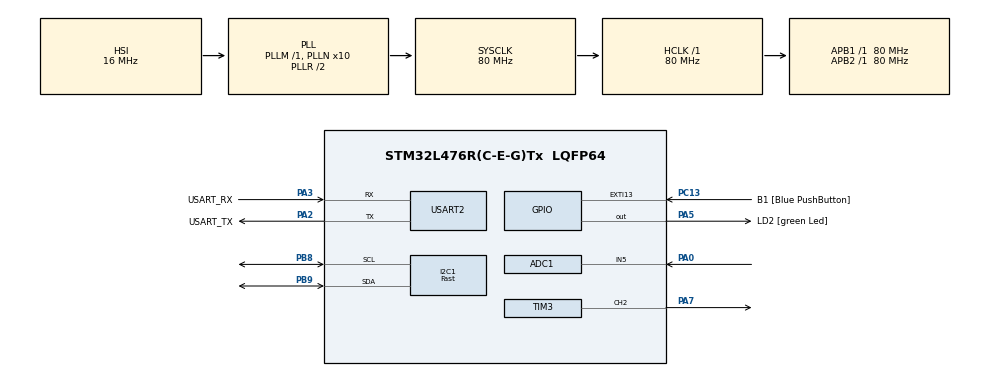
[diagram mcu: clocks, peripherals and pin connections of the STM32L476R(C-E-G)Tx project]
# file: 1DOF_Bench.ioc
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ADC1.Channel-0\#ChannelRegularConversion=ADC_CHANNEL_5
ADC1.NbrOfConversionFlag=1
ADC1.OffsetNumber-0\#ChannelRegularConversion=ADC_OFFSET_NONE
ADC1.Overrun=ADC_OVR_DATA_OVERWRITTEN
ADC1.Rank-0\#ChannelRegularConversion=1
ADC1.SamplingTime-0\#ChannelRegularConversion=ADC_SAMPLETIME_2CYCLES_5
ADC1.master=1
Dma.Request0=USART2_TX
Dma.USART2_TX.0.Direction=DMA_MEMORY_TO_PERIPH
Dma.USART2_TX.0.Instance=DMA1_Channel7
Dma.USART2_TX.0.MemDataAlignment=DMA_MDATAALIGN_BYTE
Dma.USART2_TX.0.MemInc=DMA_MINC_ENABLE
Dma.USART2_TX.0.Mode=DMA_NORMAL
Dma.USART2_TX.0.PeriphDataAlignment=DMA_PDATAALIGN_BYTE
Dma.USART2_TX.0.PeriphInc=DMA_PINC_DISABLE
Dma.USART2_TX.0.Priority=DMA_PRIORITY_LOW
I2C1.I2C_Speed_Mode=I2C_Fast
I2C1.Speed=400
I2C1.Timing=0x00702991
Mcu.Family=STM32L4
Mcu.Name=STM32L476R(C-E-G)Tx
Mcu.Package=LQFP64
Mcu.UserConstants=max_period_timer,1999
NVIC.DMA1_Channel7_IRQn=true\:0\:0\:false\:false\:true\:false\:true\:true
NVIC.PriorityGroup=NVIC_PRIORITYGROUP_4
NVIC.TIM1_UP_TIM16_IRQn=true\:0\:0\:false\:false\:true\:true\:true\:true
NVIC.TIM3_IRQn=true\:0\:0\:false\:false\:true\:true\:true\:true
NVIC.USART2_IRQn=true\:0\:0\:false\:false\:true\:true\:true\:true
PA0.Signal=ADCx_IN5
PA13\ (JTMS-SWDIO).GPIO_Label=TMS
PA13\ (JTMS-SWDIO).Mode=Serial_Wire
PA13\ (JTMS-SWDIO).Signal=SYS_JTMS-SWDIO
PA14\ (JTCK-SWCLK).GPIO_Label=TCK
PA14\ (JTCK-SWCLK).Mode=Serial_Wire
PA14\ (JTCK-SWCLK).Signal=SYS_JTCK-SWCLK
PA2.GPIO_Label=USART_TX
PA2.GPIO_Mode=GPIO_MODE_AF_PP
PA2.GPIO_PuPd=GPIO_NOPULL
PA2.GPIO_Speed=GPIO_SPEED_FREQ_VERY_HIGH
PA2.Mode=Asynchronous
PA2.Signal=USART2_TX
PA3.GPIO_Label=USART_RX
PA3.GPIO_Mode=GPIO_MODE_AF_PP
PA3.GPIO_PuPd=GPIO_NOPULL
PA3.GPIO_Speed=GPIO_SPEED_FREQ_VERY_HIGH
PA3.Mode=Asynchronous
PA3.Signal=USART2_RX
PA5.GPIO_Label=LD2 [green Led]
PA5.GPIO_ModeDefaultOutputPP=GPIO_MODE_OUTPUT_PP
PA5.GPIO_PuPd=GPIO_NOPULL
PA5.GPIO_Speed=GPIO_SPEED_FREQ_LOW
PA5.Signal=GPIO_Output
PA7.Signal=S_TIM3_CH2
PB3\ (JTDO-TRACESWO).GPIO_Label=SWO
PB3\ (JTDO-TRACESWO).Signal=SYS_JTDO-SWO
PB8.Mode=I2C
PB8.Signal=I2C1_SCL
PB9.Mode=I2C
PB9.Signal=I2C1_SDA
PC13.GPIO_Label=B1 [Blue PushButton]
PC13.GPIO_ModeDefaultEXTI=GPIO_MODE_IT_FALLING
PC13.GPIO_PuPd=GPIO_NOPULL
PC13.Signal=GPXTI13
PC14-OSC32_IN\ (PC14).Mode=LSE-External-Oscillator
PC14-OSC32_IN\ (PC14).Signal=RCC_OSC32_IN
PC15-OSC32_OUT\ (PC15).Mode=LSE-External-Oscillator
PC15-OSC32_OUT\ (PC15).Signal=RCC_OSC32_OUT
PH0-OSC_IN\ (PH0).Signal=RCC_OSC_IN
PH1-OSC_OUT\ (PH1).Signal=RCC_OSC_OUT
ProjectManager.HeapSize=0x200
ProjectManager.StackSize=0x400
ProjectManager.TargetToolchain=STM32CubeIDE
RCC.ADCFreq_Value=64000000
RCC.AHBFreq_Value=80000000
RCC.APB1Freq_Value=80000000
RCC.APB1TimFreq_Value=80000000
RCC.APB2Freq_Value=80000000
RCC.APB2TimFreq_Value=80000000
RCC.CortexFreq_Value=80000000
RCC.HCLKFreq_Value=80000000
RCC.HSE_VALUE=8000000
RCC.HSI_VALUE=16000000
RCC.MSI_VALUE=4000000
RCC.PLLN=10
RCC.PLLSourceVirtual=RCC_PLLSOURCE_HSI
RCC.PREFETCH_ENABLE=1
RCC.SYSCLKFreq_VALUE=80000000
RCC.SYSCLKSource=RCC_SYSCLKSOURCE_PLLCLK
RCC.USBFreq_Value=64000000
RCC.VCOOutputFreq_Value=160000000
SH.ADCx_IN5.0=ADC1_IN5,IN5-Single-Ended
SH.S_TIM3_CH2.0=TIM3_CH2,PWM Generation2 CH2
TIM15.Period=65536 -1
TIM15.Prescaler=80 -1
TIM16.Period=200 -1
TIM16.Prescaler=8000 -1
TIM2.AutoReloadPreload=TIM_AUTORELOAD_PRELOAD_ENABLE
TIM2.Period=4294967296 -1
TIM2.Prescaler=8 - 1
TIM3.AutoReloadPreload=TIM_AUTORELOAD_PRELOAD_ENABLE
TIM3.Channel-PWM\ Generation2\ CH2=TIM_CHANNEL_2
TIM3.Period=max_period_timer
TIM3.Prescaler=80-1
TIM3.Pulse-PWM\ Generation2\ CH2=25
USART2.VirtualMode-Asynchronous=VM_ASYNC
VP_TIM15_VS_ClockSourceINT.Mode=Internal
VP_TIM16_VS_ClockSourceINT.Mode=Enable_Timer
VP_TIM17_VS_ClockSourceINT.Mode=Enable_Timer
VP_TIM2_VS_ClockSourceINT.Mode=Internal
VP_TIM3_VS_ClockSourceINT.Mode=Internal
board=NUCLEO-L476RG

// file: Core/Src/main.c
/* USER CODE BEGIN Header */
/**
 ******************************************************************************
 * @file           : main.c
 * @brief          : Main program body
 ******************************************************************************
 * @attention
 *
 * Copyright (c) 2022 STMicroelectronics.
 * All rights reserved.
 *
 * This software is licensed under terms that can be found in the LICENSE file
 * in the root directory of this software component.
 * If no LICENSE file comes with this software, it is provided AS-IS.
 *
 ******************************************************************************
 */

/*
 * pinout :
 * pot : "3 pins{
 * 	vcc = 3.3v
 * 	signal = A0
 * 	gnd = gnd
 * }
 *
 * ESC : 2 pins{
 *  Signal = D11
 *  gnd = gnd
 * }
 *
 * Gyro : 4 pins{
 * 	vcc = 5v    **brancher sur 3.3
 * 	gnd=gnd
 * 	scl=PB8=d15
 * 	sda = PB9=d14
 *
 *
 * }
 *
 *
 *
 *
 * */

/* USER CODE END Header */
#include "main.h"
#include "adc.h"
#include "dma.h"
#include "i2c.h"
#include "tim.h"
#include "usart.h"
#include "gpio.h"

/* USER CODE BEGIN Includes */
#include "yann.h"
#include "julien.h"
#include "mpu6050.h"
#include  <stdio.h>
#include  <errno.h>
#include  <sys/unistd.h>
#include  <inttypes.h>
#include  <stdint.h>

/* USER CODE END Includes */

/* USER CODE BEGIN PV */
Kalman_t kali;
MPU6050_t mpu;

enum states etat, previous_etat;
enum choice_mode choice_mode;

int consigne = 0;
double commande = 0;

int value0 = 0;
int value1 = 0;
int value2 = 0;

int value_prime0 = 0;
int value_prime1 = 0;

int value_kp0 = 0;
int value_kp1 = 0;
int value_kp2 = 0;
int value_kp3 = 0;

int value_ki0 = 0;
int value_ki1 = 0;
int value_ki2 = 0;
int value_ki3 = 0;

int value_kd0 = 0;
int value_kd1 = 0;
int value_kd2 = 0;
int value_kd3 = 0;

// Default coefficients
const int gain_d = 1000;

double kp = 0.001;
double ki = 0.018;
double kd = 0.1;

double erreur = 0;
double _erreur = 0;
double integre_erreur = 0;
double derive_erreur = 0;
char r_buffer[2];
int counter_exceeding_value = 0;

double position_angulaireX = 0;
double position_angulaireY = 0;
double AxRaw = 0;
double AyRaw = 0;
double AzRaw = 0;
double GxRaw = 0;
double GyRaw = 0;
double GzRaw = 0;

const double radtodeg = 57.295779513082320876798154814105;
const double gtoms2 = 9.80665;

char data;

/* USER CODE END PV */

void SystemClock_Config(void);

/* USER CODE BEGIN 0 */

uint8_t gaz_buffer[4];

int _write(int file, char *data, int len) {
	if ((file != STDOUT_FILENO) && (file != STDERR_FILENO)) {
		errno = EBADF;
		return -1;
	}

	// arbitrary timeout 1000
	HAL_StatusTypeDef status = HAL_UART_Transmit(&huart2, (uint8_t*) data, len,
			1000);

	// return # of bytes written - as best we can tell
	return (status == HAL_OK ? len : 0);
}

/* USER CODE END 0 */

int main(void)
{
  /* USER CODE BEGIN 1 */

	//uint16_t timer_val;
	//uint32_t timer_val2=UINT32_C(1234567890);

	etat = entrance;
	int okay;
	int valeur_can;
	int mapped_value = valeur_min_moteur;

	commande = valeur_min_moteur;
	double landing_value = valeur_min_moteur;
	int timeout_gyro = 1000;

	// mode 2
	int cpt_char = 0;
	int max_cpt_char = 4;
	char r_buffer_string[max_cpt_char];
	int gaz_term_percent = 0;
	// mode 3
	int cpt_char_prime = 0;
	int max_cpt_char_prime = 3;
	char r_buffer_string_prime[max_cpt_char_prime];
	int angle_term = 0;

	int cpt_char_kp = 0;
	int max_cpt_char_kp = 5; //7 avec virgule et chiffre des unités
	char r_buffer_string_kp[max_cpt_char_kp];

	int cpt_char_ki = 0;
	int max_cpt_char_ki = 5; //7 avec virgule et chiffre des unités
	char r_buffer_string_ki[max_cpt_char_ki];

	int cpt_char_kd = 0;
	int max_cpt_char_kd = 5; //7 avec virgule et chiffre des unités
	char r_buffer_string_kd[max_cpt_char_kd];

	char msg_motor_ready[] = "> Press [ SPACE ] for Motor ready\n\r";
	char msg_info_mode[] = "> Press [ ? ] for Info mode\n\n\r";
	char msg_error_char_nb[] =
			"ERROR: Please enter only characters included in this list : 0 1 2 3 4 5 6 7 8 9\n\n\r";
	char msg_error_value_sup[] = "ERROR: Value > 173\n\n\r";
	char msg_error_value_sup_angle[] = "ERROR: Value > 90\n\n\r";

  /* USER CODE END 1 */

  /* MCU Configuration--------------------------------------------------------*/

  /* Reset of all peripherals, Initializes the Flash interface and the Systick. */
  HAL_Init();

  /* Configure the system clock */
  SystemClock_Config();

  /* Initialize all configured peripherals */
  MX_GPIO_Init();
  MX_DMA_Init();
  MX_ADC1_Init();
  MX_USART2_UART_Init();
  MX_TIM3_Init();
  MX_I2C1_Init();
  MX_TIM2_Init();
  MX_TIM15_Init();
  MX_TIM17_Init();
  MX_TIM16_Init();
  /* USER CODE BEGIN 2 */
	HAL_TIM_PWM_Start(&htim3, TIM_CHANNEL_2);

	// counters to test stuff 15-> 10^-6s / 2-> 10^-7s
	//HAL_TIM_Base_Start(&htim15);
	HAL_TIM_Base_Start(&htim2);
  /* USER CODE END 2 */

  /* Infinite loop */
  /* USER CODE BEGIN WHILE */
	while (1) {

		__HAL_UART_CLEAR_OREFLAG(&huart2);

		// Re-initialization of buffer
		r_buffer[0] = 0;

		//---------changing states-------

		switch (etat) {

			// TAG_UC_001
			// First step: Press ENTER to start the experiment
		case entrance:

			do {
				HAL_UART_Receive(&huart2, (uint8_t*) r_buffer, 1, 10);
			} while (r_buffer[0] != '\r');

			etat = init_uc;

			break;

			// TAG_UC_002
			// State init: initialization of micro-controller
		case init_uc:

			printf("State: Init uc\n\r");

			// -------------------------------------------------------------------------
			// -> démarrer le compteur

			//HAL_Delay(1000);
			//timer_val = __HAL_TIM_GET_COUNTER(&htim15);
			//HAL_Delay(6);
			//timer_val = __HAL_TIM_GET_COUNTER(&htim15) - timer_val ;
			//printf("Time consumed : %d *10^-6 secondes\r\n", timer_val);

			//HAL_Delay(1000);
			//timer_val2 = __HAL_TIM_GET_COUNTER(&htim2);
			//HAL_Delay(10);
			//timer_val2 = __HAL_TIM_GET_COUNTER(&htim2) - timer_val2 ;
			//HAL_TIM_Base_Stop(&htim2);
			//printf("Time consumed : %" PRIu32 " *10^-7 secondes\r\n", timer_val2);
			// -------------------------------------------------------------------------

			printf(msg_motor_ready);
			printf(msg_info_mode);

			printf("\n\r");
			do {
				if (HAL_UART_Receive(&huart2, (uint8_t*) r_buffer, 1, 10)
						== HAL_OK) {
					HAL_UART_Transmit(&huart2, (uint8_t*) r_buffer, 1, 10);
				} else {
					__HAL_UART_CLEAR_OREFLAG(&huart2);
				}
			} while ((r_buffer[0] != ' ') && (r_buffer[0] != '?'));
			printf("\n\n\r");

			switch (r_buffer[0]) {
			case ' ':
				etat = motor_ready;
				break;
			case '?':
				etat = info_mode;
				previous_etat = init_uc;
				break;
			default:
				break;
			}

			break;

			// TAG_UC_003
			// State '?': board of informations
		case info_mode:

			printf("State: Info mode\n\n\r");

			printf("Firmware version %.2f \n\r", firmware_version);
			printf("Baud rate %lu \n\n\r", huart2.Init.BaudRate);

			printf("Angle (auto mode) = %d deg\n\n\r", angle_term);
			printf("kp = %.4f\n\r", kp);
			printf("ki = %.4f\n\r", ki);
			printf("kd = %.4f\n\n\r", kd);

			printf("List of States:\n\r");
			printf(">>Init UC\n\r");
			printf(">>Info Mode\n\r");
			printf(">>Motor Ready\n\r");
			printf(">>Manual Mode Pot\n\r");
			printf(">>Manual Mode Term\n\r");
			printf(">>Auto Mode\n\n\r");

			//go to previous state
			etat = previous_etat;
			break;

			// TAG_UC_005
			// State ' ': motor is ready
		case motor_ready:

			printf("State: Motor ready\n\n\r");

			printf(msg_info_mode);
			printf("> Press [ 1 ] for Manual mode pot\n\r");
			printf("> Press [ 2 ] for Manual mode term\n\r");
			printf("> Press [ 3 ] for Auto mode\n\r");
			printf("> Press [ 4 ] for Trip mode\n\r");

			// Init Motor
			load_pwm(htim3, valeur_min_moteur);
			HAL_Delay(100);

			printf("\n\r");
			do {
				if (HAL_UART_Receive(&huart2, (uint8_t*) r_buffer, 1, 10)
						== HAL_OK) {
					HAL_UART_Transmit(&huart2, (uint8_t*) r_buffer, 1, 10);
				} else {
					__HAL_UART_CLEAR_OREFLAG(&huart2);
				}
			} while ((r_buffer[0] != '?') && (r_buffer[0] != '1')
					&& (r_buffer[0] != '2') && (r_buffer[0] != '3')
					&& (r_buffer[0] != '4'));
			printf("\n\n\r");

			switch (r_buffer[0]) {
			case '?':
				etat = info_mode;
				previous_etat = motor_ready;
				break;
			case '1':
				etat = manual_mode_pot;
				break;
			case '2':
				etat = manual_mode_term;
				break;
			case '3':
				choice_mode = choice_auto;
				etat = init_gyro;
				break;
			case '4':
				choice_mode = choice_trip;
				etat = init_gyro;
				break;
			default:
				break;
			}

			break;

			// TAG_UC_006
			// State '1': manual mode pot
		case manual_mode_pot:

			printf("State: Manual mode pot \n\n\r");

			// Start Init Pot--------------------
			printf("Init pot\n\r");

			HAL_ADC_Start(&hadc1);
			okay = 1;
			printf("> Put the potentiometer at zero\n\r");
			HAL_Delay(100);

			while (okay == 1) {
				HAL_ADC_Start(&hadc1);
				if (HAL_ADC_PollForConversion(&hadc1, 100) == HAL_OK) {
					valeur_can = HAL_ADC_GetValue(&hadc1);
					printf("ADC value : %d \n\r", valeur_can);
				} else {
					printf("Conversion NOK\n\r");
				}
				if (valeur_can <= 20) {
					okay = 0;
				}
				HAL_Delay(1000);
			}

			printf("Success \n\n\r");
			// End Init Pot----------------------

			printf(msg_info_mode);
			printf(msg_motor_ready);

			//recuperation de la pwm
			printf("\n\r");
			do {
				if (HAL_UART_Receive(&huart2, (uint8_t*) r_buffer, 1, 10)
						== HAL_OK) {
					HAL_UART_Transmit(&huart2, (uint8_t*) r_buffer, 1, 10);
				} else {
					__HAL_UART_CLEAR_OREFLAG(&huart2);
				}
				valeur_can = load_adc(hadc1, 5);
				mapped_value = mapping_adc_value(valeur_can);
				HAL_Delay(100);
				load_pwm(htim3, mapped_value);

			} while ((r_buffer[0] != ' ') && (r_buffer[0] != '?'));
			printf("\n\n\r");

			switch (r_buffer[0]) {
			case '?':
				etat = info_mode;
				previous_etat = manual_mode_pot;
				break;
			case ' ':
				landing_value = mapped_value;
				etat = landing;
				break;
			default:
				break;
			}

			break;

			// TAG_UC_007
			// State '2': manual mode term
		case manual_mode_term:

			printf("State: Manual mode term\n\n\r");

			// for now let's say 10 as value max -> 15% = dangerous
			// edit: it can now go up to 10% but only by incrementing by 1% with '+'
			// edit2: I need to increase it to 17% for the GUI
			// edit3: with permil I need to increase it to 173 (/1000) which is equivalent to 17.3%
			printf(
					"> Enter value between 1 and 173 (power percentage) then press [ ENTER ]\n\r");
			printf("> Press [ + ] or [ - ]\n\n\r");
			printf(msg_info_mode);
			printf(msg_motor_ready);

			//recovery of the pwm
			printf("\n\r");
			do {
				if (HAL_UART_Receive(&huart2, (uint8_t*) r_buffer, 1, 1)
						== HAL_OK) {
					r_buffer_string[cpt_char] = r_buffer[0];
					HAL_UART_Transmit(&huart2, (uint8_t*) r_buffer, 1, 1);
					if (cpt_char < max_cpt_char) {
						cpt_char++;
					}
				} else {
					__HAL_UART_CLEAR_OREFLAG(&huart2);
				}
			} while ((r_buffer[0] != '\r') && (r_buffer[0] != '+')
					&& (r_buffer[0] != '-') && (r_buffer[0] != '?')
					&& (r_buffer[0] != ' ') && (r_buffer[0] != 'r')
					&& (r_buffer[0] != 's') && (r_buffer[0] != 'f'));
			printf("\n\n\r");

			value0 = ascii_to_int(r_buffer_string[0]);
			value1 = ascii_to_int(r_buffer_string[1]);
			value2 = ascii_to_int(r_buffer_string[2]);

			if (cpt_char == 2) {
				if ((value0 > 9) || (value0 < 0)) {
					printf(msg_error_char_nb);
				} else {
					int prov_gaz_term_percent = value0;
					if (prov_gaz_term_percent > 173) {
						printf(msg_error_value_sup);
					} else {
						gaz_term_percent = prov_gaz_term_percent;
						printf("Gaz Term : %d\n\r", gaz_term_percent);
					}
				}
			}
			if (cpt_char == 3) {
				if ((value0 > 9) || (value0 < 0) || (value1 > 9)
						|| (value1 < 0)) {
					printf(msg_error_char_nb);
				} else {
					int prov_gaz_term_percent = value0 * 10 + value1;
					if (prov_gaz_term_percent > 173) {
						printf(msg_error_value_sup);
					} else {
						gaz_term_percent = prov_gaz_term_percent;
						printf("Gaz Term : %d\n\r", gaz_term_percent);
					}
				}
			}
			if (cpt_char == 4) {
				if ((value0 > 9) || (value0 < 0) || (value1 > 9) || (value1 < 0)
						|| (value2 > 9) || (value2 < 0)) {
					printf(msg_error_char_nb);
				} else {
					int prov_gaz_term_percent = value0 * 100 + value1 * 10
							+ value2;
					if (prov_gaz_term_percent > 173) {
						printf(msg_error_value_sup);
					} else {
						gaz_term_percent = prov_gaz_term_percent;
						printf("Gaz Term : %d\n\r", gaz_term_percent);
					}
				}
			}

			if (r_buffer[0] == '+') {
				gaz_term_percent++;
				printf("Gaz Term : %d\n\r", gaz_term_percent);
			}
			if (r_buffer[0] == '-') {
				gaz_term_percent--;
				printf("Gaz Term : %d\n\r", gaz_term_percent);
			}

			//mapped_value = mapping_adc_value_percent(gaz_term_percent);
			mapped_value = mapping_adc_value_permil(gaz_term_percent);

			//printf("Mapping adc value percent : %d\n\n\r", mapped_value);
			load_pwm(htim3, mapped_value);
			HAL_Delay(10);

			etat = manual_mode_term;

			if (r_buffer[0] == '?') {
				etat = info_mode;
				previous_etat = manual_mode_term;
			}
			if (r_buffer[0] == 'r') {
				HAL_TIM_Base_Start_IT(&htim16);
			}
			if (r_buffer[0] == 's') {
				HAL_TIM_Base_Stop_IT(&htim16);
			}
			if (r_buffer[0] == 'f') {
				HAL_TIM_Base_Stop_IT(&htim16);
				printf("EXCEEDING VALUE\n");
			}
			if (r_buffer[0] == ' ') {
				landing_value = mapped_value;
				mapped_value = valeur_min_moteur;
				etat = landing;
				gaz_term_percent = 0;
			}

			r_buffer_string[0] = 0;
			r_buffer_string[1] = 0;
			r_buffer_string[2] = 0;
			value0 = 0;
			value1 = 0;
			value2 = 0;
			cpt_char = 0;

			break;

			// State '3': auto mode

			// TAG_UC_008
		case init_gyro:

			printf("State: Auto mode\n\n\r");
			timeout_gyro = 1000;
			printf("Waiting for Gyro MPU6050...\n\r");
			while (MPU6050_Init(&hi2c1) == 1 && (--timeout_gyro > 0))
				;

			if (MPU6050_Init(&hi2c1) == 0) {
				printf("Gyro MPU6050 initialized\n\n\r");
				MPU6050_Read_All(&hi2c1, &mpu);
				etat = instruct_angle;
			} else {
				printf("Gyro MPU6050 is not working\n\n\r");
				etat = motor_ready;
				break;
			}
			break;

			// TAG_UC_009
		case instruct_angle:

			printf(msg_info_mode);
			printf(msg_motor_ready);
			// Ask for instructions for the angle of the arm
			printf(
					"> Enter value between 0 and 90 degrees (angle of the arm) then press [ ENTER ]\n\r");

			printf("\n\r");
			do {
				if (HAL_UART_Receive(&huart2, (uint8_t*) r_buffer, 1, 1)
						== HAL_OK) {
					r_buffer_string_prime[cpt_char_prime] = r_buffer[0];
					HAL_UART_Transmit(&huart2, (uint8_t*) r_buffer, 1, 1);
					if (cpt_char_prime < max_cpt_char_prime) {
						cpt_char_prime++;
					}
				} else {
					__HAL_UART_CLEAR_OREFLAG(&huart2);
				}
			} while ((r_buffer[0] != '\r') && (r_buffer[0] != '?')
					&& (r_buffer[0] != ' '));
			printf("\n\n\r");

			value_prime0 = ascii_to_int(r_buffer_string_prime[0]);
			value_prime1 = ascii_to_int(r_buffer_string_prime[1]);

			if (cpt_char_prime == 2) {
				if ((value_prime0 > 9) || (value_prime0 < 0)) {
					printf(msg_error_char_nb);
					etat = instruct_angle;
				} else {
					int prov_angle_term = value_prime0;
					if (prov_angle_term > 90) {
						printf(msg_error_value_sup_angle);
						etat = instruct_angle;
					} else {
						angle_term = prov_angle_term;
						printf("Angle : %d\n\r", angle_term);
						etat = auto_mode;
					}
				}
			}
			if (cpt_char_prime == 3) {
				if ((value_prime0 > 9) || (value_prime0 < 0)
						|| (value_prime1 > 9) || (value_prime1 < 0)) {
					printf(msg_error_char_nb);
					etat = instruct_angle;
				} else {
					int prov_angle_term = value_prime0 * 10 + value_prime1;
					if (prov_angle_term > 90) {
						printf(msg_error_value_sup_angle);
						etat = instruct_angle;
					} else {
						angle_term = prov_angle_term;
						printf("Angle : %d\n\r", angle_term);
						etat = auto_mode;
					}
				}
			}

			if (r_buffer[0] == '?') {
				etat = info_mode;
				previous_etat = instruct_angle;
			}
			if (r_buffer[0] == ' ') {
				landing_value = commande;
				commande = valeur_min_moteur;
				etat = landing;
				integre_erreur = 0;
				erreur = 0;
			}

			r_buffer_string_prime[0] = 0;
			r_buffer_string_prime[1] = 0;
			value_prime0 = 0;
			value_prime1 = 0;
			cpt_char_prime = 0;
			break;

			// TAG_UC_010
		case instruct_kp:

			printf(msg_info_mode);
			printf(msg_motor_ready);

			// Ask for instructions for the coefficient kp
			printf(
					"> kp coefficient looks like [0.****].\n\rPlease enter all the values at the [*] then press [ ENTER ]\n\r");

			printf("\n\r");
			do {
				if (HAL_UART_Receive(&huart2, (uint8_t*) r_buffer, 1, 1)
						== HAL_OK) {
					r_buffer_string_kp[cpt_char_kp] = r_buffer[0];
					HAL_UART_Transmit(&huart2, (uint8_t*) r_buffer, 1, 1);
					if (cpt_char_kp < max_cpt_char_kp) {
						cpt_char_kp++;
					}
				} else {
					__HAL_UART_CLEAR_OREFLAG(&huart2);
				}
			} while ((r_buffer[0] != '\r') && (r_buffer[0] != '?')
					&& (r_buffer[0] != ' '));
			printf("\n\n\r");

			value_kp0 = ascii_to_int(r_buffer_string_kp[0]);
			value_kp1 = ascii_to_int(r_buffer_string_kp[1]);
			value_kp2 = ascii_to_int(r_buffer_string_kp[2]);
			value_kp3 = ascii_to_int(r_buffer_string_kp[3]);

			construct_pid_coeff(&cpt_char_kp, &value_kp0, &value_kp1, &value_kp2, &value_kp3,
					msg_error_char_nb, &etat, instruct_kp, "kp = %.4f \n\r", &kp);

//			if (cpt_char_kp == 2) {
//				if ((value_kp0 > 9) || (value_kp0 < 0)) {
//					printf(msg_error_char_nb);
//					etat = instruct_kp;
//				} else {
//					kp = value_kp0 / 10.;
//					printf("kp = %.4f \n\r", kp);
//					etat = auto_mode;
//				}
//			}
//			if (cpt_char_kp == 3) {
//				if ((value_kp0 > 9) || (value_kp0 < 0) || (value_kp1 > 9)
//						|| (value_kp1 < 0)) {
//					printf(msg_error_char_nb);
//					etat = instruct_kp;
//				} else {
//					kp = value_kp0 / 10. + value_kp1 / 100.;
//					printf("kp = %.4f \n\r", kp);
//					etat = auto_mode;
//				}
//			}
//			if (cpt_char_kp == 4) {
//				if ((value_kp0 > 9) || (value_kp0 < 0) || (value_kp1 > 9)
//						|| (value_kp1 < 0) || (value_kp2 > 9)
//						|| (value_kp2 < 0)) {
//					printf(msg_error_char_nb);
//					etat = instruct_kp;
//				} else {
//					kp = value_kp0 / 10. + value_kp1 / 100. + value_kp2 / 1000.;
//					printf("kp = %.4f \n\r", kp);
//					etat = auto_mode;
//				}
//			}
//			if (cpt_char_kp == 5) {
//				if ((value_kp0 > 9) || (value_kp0 < 0) || (value_kp1 > 9)
//						|| (value_kp1 < 0) || (value_kp2 > 9) || (value_kp2 < 0)
//						|| (value_kp3 > 9) || (value_kp3 < 0)) {
//					printf(msg_error_char_nb);
//					etat = instruct_kp;
//				} else {
//					kp = value_kp0 / 10. + value_kp1 / 100. + value_kp2 / 1000.
//							+ value_kp3 / 10000.;
//					printf("kp = %.4f \n\r", kp);
//					etat = auto_mode;
//				}
//			}

			if (r_buffer[0] == '?') {
				etat = info_mode;
				previous_etat = instruct_kp;
			}
			if (r_buffer[0] == ' ') {
				landing_value = commande;
				commande = valeur_min_moteur;
				etat = landing;
				integre_erreur = 0;
				erreur = 0;
			}

			reinit_pid_values(r_buffer_string_kp, &value_kp0, &value_kp1,
					&value_kp2, &value_kp3, &cpt_char_kp);

			break;

			// TAG_UC_011
		case instruct_ki:

			printf(msg_info_mode);
			printf(msg_motor_ready);

			// Ask for instructions for the coefficient ki
			printf(
					"> ki coefficient looks like [0.****].\n\rPlease enter all the values at the [*] then press [ ENTER ]\n\r");

			printf("\n\r");
			do {
				if (HAL_UART_Receive(&huart2, (uint8_t*) r_buffer, 1, 1)
						== HAL_OK) {
					r_buffer_string_ki[cpt_char_ki] = r_buffer[0];
					HAL_UART_Transmit(&huart2, (uint8_t*) r_buffer, 1, 1);
					if (cpt_char_ki < max_cpt_char_ki) {
						cpt_char_ki++;
					}
				} else {
					__HAL_UART_CLEAR_OREFLAG(&huart2);
				}
			} while ((r_buffer[0] != '\r') && (r_buffer[0] != '?')
					&& (r_buffer[0] != ' '));
			printf("\n\n\r");

			value_ki0 = ascii_to_int(r_buffer_string_ki[0]);
			value_ki1 = ascii_to_int(r_buffer_string_ki[1]);
			value_ki2 = ascii_to_int(r_buffer_string_ki[2]);
			value_ki3 = ascii_to_int(r_buffer_string_ki[3]);

			construct_pid_coeff(&cpt_char_ki, &value_ki0, &value_ki1, &value_ki2, &value_ki3,
								msg_error_char_nb, &etat, instruct_ki, "ki = %.4f \n\r", &ki);

//			if (cpt_char_ki == 2) {
//				if ((value_ki0 > 9) || (value_ki0 < 0)) {
//					printf(msg_error_char_nb);
//					etat = instruct_ki;
//				} else {
//					ki = value_ki0 / 10.;
//					printf("ki = %.4f \n\r", ki);
//					etat = auto_mode;
//				}
//			}
//			if (cpt_char_ki == 3) {
//				if ((value_ki0 > 9) || (value_ki0 < 0) || (value_ki1 > 9)
//						|| (value_ki1 < 0)) {
//					printf(msg_error_char_nb);
//					etat = instruct_ki;
//				} else {
//					ki = value_ki0 / 10. + value_ki1 / 100.;
//					printf("ki = %.4f \n\r", ki);
//					etat = auto_mode;
//				}
//			}
//			if (cpt_char_ki == 4) {
//				if ((value_ki0 > 9) || (value_ki0 < 0) || (value_ki1 > 9)
//						|| (value_ki1 < 0) || (value_ki2 > 9)
//						|| (value_ki2 < 0)) {
//					printf(msg_error_char_nb);
//					etat = instruct_ki;
//				} else {
//					ki = value_ki0 / 10. + value_ki1 / 100. + value_ki2 / 1000.;
//					printf("ki = %.4f \n\r", ki);
//					etat = auto_mode;
//				}
//			}
//			if (cpt_char_ki == 5) {
//				if ((value_ki0 > 9) || (value_ki0 < 0) || (value_ki1 > 9)
//						|| (value_ki1 < 0) || (value_ki2 > 9) || (value_ki2 < 0)
//						|| (value_ki3 > 9) || (value_ki3 < 0)) {
//					printf(msg_error_char_nb);
//					etat = instruct_ki;
//				} else {
//					ki = value_ki0 / 10. + value_ki1 / 100. + value_ki2 / 1000.
//							+ value_ki3 / 10000.;
//					printf("ki = %.4f \n\r", ki);
//					etat = auto_mode;
//				}
//			}

			if (r_buffer[0] == '?') {
				etat = info_mode;
				previous_etat = instruct_ki;
			}
			if (r_buffer[0] == ' ') {
				landing_value = commande;
				commande = valeur_min_moteur;
				etat = landing;
				integre_erreur = 0;
				erreur = 0;
			}

			reinit_pid_values(r_buffer_string_ki, &value_ki0, &value_ki1,
					&value_ki2, &value_ki3, &cpt_char_ki);

			break;

			// TAG_UC_012
		case instruct_kd:

			printf(msg_info_mode);
			printf(msg_motor_ready);

			// Ask for instructions for the coefficient kd
			printf(
					"> kd coefficient looks like [0.****].\n\rPlease enter all the values at the [*] then press [ ENTER ]\n\r");

			printf("\n\r");
			do {
				if (HAL_UART_Receive(&huart2, (uint8_t*) r_buffer, 1, 1)
						== HAL_OK) {
					r_buffer_string_kd[cpt_char_kd] = r_buffer[0];
					HAL_UART_Transmit(&huart2, (uint8_t*) r_buffer, 1, 1);
					if (cpt_char_kd < max_cpt_char_kd) {
						cpt_char_kd++;
					}
				} else {
					__HAL_UART_CLEAR_OREFLAG(&huart2);
				}
			} while ((r_buffer[0] != '\r') && (r_buffer[0] != '?')
					&& (r_buffer[0] != ' '));
			printf("\n\n\r");

			value_kd0 = ascii_to_int(r_buffer_string_kd[0]);
			value_kd1 = ascii_to_int(r_buffer_string_kd[1]);
			value_kd2 = ascii_to_int(r_buffer_string_kd[2]);
			value_kd3 = ascii_to_int(r_buffer_string_kd[3]);

			construct_pid_coeff(&cpt_char_kd, &value_kd0, &value_kd1, &value_kd2, &value_kd3,
											msg_error_char_nb, &etat, instruct_kd, "kd = %.4f \n\r", &kd);

//			if (cpt_char_kd == 2) {
//				if ((value_kd0 > 9) || (value_kd0 < 0)) {
//					printf(msg_error_char_nb);
//					etat = instruct_kd;
//				} else {
//					kd = value_kd0 / 10.;
//					printf("kd = %.4f \n\r", kd);
//					etat = auto_mode;
//				}
//			}
//			if (cpt_char_kd == 3) {
//				if ((value_kd0 > 9) || (value_kd0 < 0) || (value_kd1 > 9)
//						|| (value_kd1 < 0)) {
//					printf(msg_error_char_nb);
//					etat = instruct_kd;
//				} else {
//					kd = value_kd0 / 10. + value_kd1 / 100.;
//					printf("kd = %.4f \n\r", kd);
//					etat = auto_mode;
//				}
//			}
//			if (cpt_char_kd == 4) {
//				if ((value_kd0 > 9) || (value_kd0 < 0) || (value_kd1 > 9)
//						|| (value_kd1 < 0) || (value_kd2 > 9)
//						|| (value_kd2 < 0)) {
//					printf(msg_error_char_nb);
//					etat = instruct_kd;
//				} else {
//					kd = value_kd0 / 10. + value_kd1 / 100. + value_kd2 / 1000.;
//					printf("kd = %.4f \n\r", kd);
//					etat = auto_mode;
//				}
//			}
//			if (cpt_char_kd == 5) {
//				if ((value_kd0 > 9) || (value_kd0 < 0) || (value_kd1 > 9)
//						|| (value_kd1 < 0) || (value_kd2 > 9) || (value_kd2 < 0)
//						|| (value_kd3 > 9) || (value_kd3 < 0)) {
//					printf(msg_error_char_nb);
//					etat = instruct_kd;
//				} else {
//					kd = value_kd0 / 10. + value_kd1 / 100. + value_kd2 / 1000.
//							+ value_kd3 / 10000.;
//					printf("kd = %.4f \n\r", kd);
//					etat = auto_mode;
//				}
//			}

			if (r_buffer[0] == '?') {
				etat = info_mode;
				previous_etat = instruct_kd;
			}
			if (r_buffer[0] == ' ') {
				landing_value = commande;
				commande = valeur_min_moteur;
				etat = landing;
				integre_erreur = 0;
				erreur = 0;
			}

			reinit_pid_values(r_buffer_string_kd, &value_kd0, &value_kd1,
					&value_kd2, &value_kd3, &cpt_char_kd);

			break;

			// TAG_UC_013
		case auto_mode:
			printf(msg_info_mode);
			printf(msg_motor_ready);
			printf(
					"> Please enter [p] if you want to modify kp value\n\rPlease enter [i] if you want to modify ki value\n\rPlease enter [d] if you want to modify kd value\n\r");
			printf(
					"> Please enter [w] if you want to modify the angle value\n\r");
			printf(
					"> If you want to come back to default set of PID coefficients then press [!]\n\r");

			consigne = angle_term;
			printf("\n\r");

			do {
				if (HAL_UART_Receive(&huart2, (uint8_t*) r_buffer, 1, 10)
						== HAL_OK) {
					HAL_UART_Transmit(&huart2, (uint8_t*) r_buffer, 1, 10);
					printf("\n\n\r");
				} else {
					__HAL_UART_CLEAR_OREFLAG(&huart2);
				}
			} while ((r_buffer[0] != ' ')
					&& (r_buffer[0] != '?') && (r_buffer[0] != '!')
					&& (r_buffer[0] != 'w') && (r_buffer[0] != 'p')
					&& (r_buffer[0] != 'i') && (r_buffer[0] != 'd')
					&& (r_buffer[0] != 'r')&& (r_buffer[0] != 's')
					&& (r_buffer[0] != 'f'));

			if (r_buffer[0] == ' ') {
				landing_value = commande;
				commande = valeur_min_moteur;
				etat = landing;
				integre_erreur = 0;
				erreur = 0;
			}
			if (r_buffer[0] == '?') {
				etat = info_mode;
				previous_etat = auto_mode;
			}
			if (r_buffer[0] == '!') {
				kp = 0.001;
				ki = 0.018;
				kd = 0.1;
				landing_value = commande;
				commande = valeur_min_moteur;
				landing_func(landing_value, htim3, valeur_min_moteur);
				etat = auto_mode;
				integre_erreur = 0;
				erreur = 0;
			}
			if (r_buffer[0] == 'w') {
				etat = instruct_angle;
			}
			if (r_buffer[0] == 'p') {
				landing_value = commande;
				commande = valeur_min_moteur;
				landing_func(landing_value, htim3, valeur_min_moteur);
				etat = instruct_kp;
				integre_erreur = 0;
				erreur = 0;
			}
			if (r_buffer[0] == 'i') {
				landing_value = commande;
				commande = valeur_min_moteur;
				landing_func(landing_value, htim3, valeur_min_moteur);
				etat = instruct_ki;
				integre_erreur = 0;
				erreur = 0;
			}
			if (r_buffer[0] == 'd') {
				landing_value = commande;
				commande = valeur_min_moteur;
				landing_func(landing_value, htim3, valeur_min_moteur);
				etat = instruct_kd;
				integre_erreur = 0;
				erreur = 0;
			}
			if (r_buffer[0] == 'r') {
				HAL_TIM_Base_Start_IT(&htim16);
			}
			if (r_buffer[0] == 's') {
				HAL_TIM_Base_Stop_IT(&htim16);
			}
			if (r_buffer[0] == 'f') {
				HAL_TIM_Base_Stop_IT(&htim16);
				printf("EXCEEDING VALUE\n");
			}
			break;

			// TAG_UC_014
		case landing:

			landing_func(landing_value, htim3, valeur_min_moteur);
			etat = motor_ready;

			break;

		default:
			break;

		}
		//---------changing states----END---

    /* USER CODE END WHILE */

	}
}

void SystemClock_Config(void)
{
  RCC_OscInitTypeDef RCC_OscInitStruct = {0};
  RCC_ClkInitTypeDef RCC_ClkInitStruct = {0};

  /** Configure the main internal regulator output voltage
  */
  if (HAL_PWREx_ControlVoltageScaling(PWR_REGULATOR_VOLTAGE_SCALE1) != HAL_OK)
  {
    Error_Handler();
  }

  /** Initializes the RCC Oscillators according to the specified parameters
  * in the RCC_OscInitTypeDef structure.
  */
  RCC_OscInitStruct.OscillatorType = RCC_OSCILLATORTYPE_HSI;
  RCC_OscInitStruct.HSIState = RCC_HSI_ON;
  RCC_OscInitStruct.HSICalibrationValue = RCC_HSICALIBRATION_DEFAULT;
  RCC_OscInitStruct.PLL.PLLState = RCC_PLL_ON;
  RCC_OscInitStruct.PLL.PLLSource = RCC_PLLSOURCE_HSI;
  RCC_OscInitStruct.PLL.PLLM = 1;
  RCC_OscInitStruct.PLL.PLLN = 10;
  RCC_OscInitStruct.PLL.PLLP = RCC_PLLP_DIV7;
  RCC_OscInitStruct.PLL.PLLQ = RCC_PLLQ_DIV2;
  RCC_OscInitStruct.PLL.PLLR = RCC_PLLR_DIV2;
  if (HAL_RCC_OscConfig(&RCC_OscInitStruct) != HAL_OK)
  {
    Error_Handler();
  }

  /** Initializes the CPU, AHB and APB buses clocks
  */
  RCC_ClkInitStruct.ClockType = RCC_CLOCKTYPE_HCLK|RCC_CLOCKTYPE_SYSCLK
                              |RCC_CLOCKTYPE_PCLK1|RCC_CLOCKTYPE_PCLK2;
  RCC_ClkInitStruct.SYSCLKSource = RCC_SYSCLKSOURCE_PLLCLK;
  RCC_ClkInitStruct.AHBCLKDivider = RCC_SYSCLK_DIV1;
  RCC_ClkInitStruct.APB1CLKDivider = RCC_HCLK_DIV1;
  RCC_ClkInitStruct.APB2CLKDivider = RCC_HCLK_DIV1;

  if (HAL_RCC_ClockConfig(&RCC_ClkInitStruct, FLASH_LATENCY_4) != HAL_OK)
  {
    Error_Handler();
  }
}

/* USER CODE BEGIN 4 */

// Callback function : timer reset
// TAG_UC_004
void HAL_TIM_PeriodElapsedCallback(TIM_HandleTypeDef *htim)
{
	if (htim == &htim16)
	{
		// Data
		MPU6050_Read_All(&hi2c1, &mpu);
		position_angulaireX = mpu.KalmanAngleX + 90;
		position_angulaireY = mpu.KalmanAngleY ;
		AxRaw = mpu.Ax * gtoms2;
		AyRaw = mpu.Ay * gtoms2;
		AzRaw = mpu.Az * gtoms2;
		GxRaw = mpu.Gx / radtodeg;
		GyRaw = mpu.Gy / radtodeg;
		GzRaw = mpu.Gz / radtodeg;

		if (etat == auto_mode)
		{
			// Asservissement
			_erreur = erreur;
			erreur = consigne - position_angulaireX;
			integre_erreur += erreur;
			derive_erreur = erreur - _erreur;
			commande = kp * (erreur) + ki * (integre_erreur)
					+ gain_d*kd * (derive_erreur);

			if (commande > valeur_max_moteur) {
				commande = valeur_max_moteur;
			}
			if (commande < valeur_min_moteur) {
				commande = valeur_min_moteur;
			}
			load_pwm(htim3, commande);
			// Data transmission for trip_mode
			if (choice_mode == choice_trip)
			{
				data = printf("DataA:%.2lf;%.2lf;%.4lf;%.4lf;%.4lf;%.4lf;%.4lf;%.4lf;%.2lf;%.2lf;%.2lf\n",
						position_angulaireX, position_angulaireY, AxRaw, AyRaw, AzRaw, GxRaw, GyRaw, GzRaw, erreur, integre_erreur, derive_erreur);
				HAL_UART_Transmit_IT(&huart2, data, sizeof(data));
			}
		}

		if (etat == manual_mode_term)
		{
			// Data transmission
			data = printf("DataG:%.2lf;%.2lf;%.4lf;%.4lf;%.4lf;%.4lf;%.4lf;%.4lf\n",
					position_angulaireX, position_angulaireY, AxRaw, AyRaw, AzRaw, GxRaw, GyRaw, GzRaw);
			HAL_UART_Transmit_IT(&huart2, data, sizeof(data));
		}

		// Garde fou 90°
		if (position_angulaireX >= 85){
			counter_exceeding_value +=1;
			if (counter_exceeding_value >=5){
				counter_exceeding_value = 0;
				r_buffer[0] = 'f';

			}
		}
	}
}

/* USER CODE END 4 */

void Error_Handler(void)
{
	__disable_irq();
	while (1) {
	}
}
